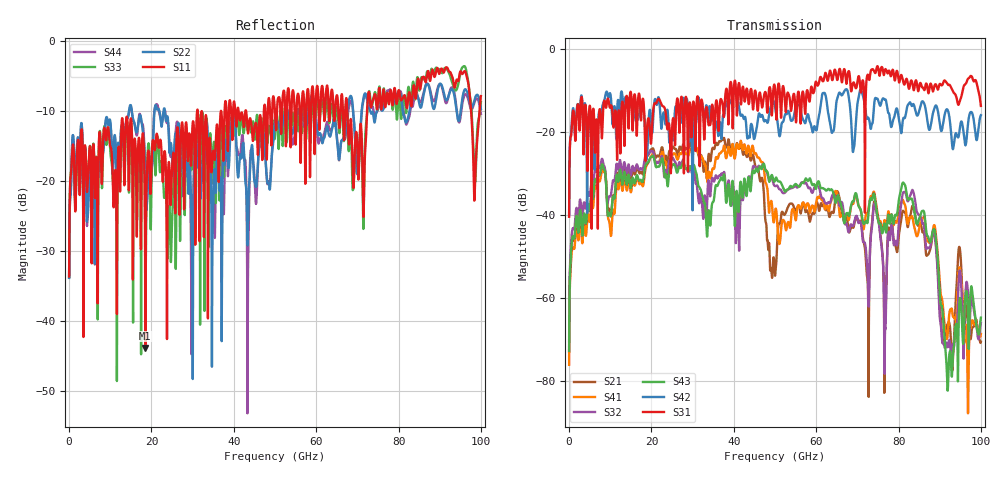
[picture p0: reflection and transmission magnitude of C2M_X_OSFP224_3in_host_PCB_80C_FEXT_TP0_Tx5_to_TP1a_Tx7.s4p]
# GHz S RI R 45
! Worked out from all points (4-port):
!   4000 points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, 25 MHz to 100 GHz, reference 45 ohm
!   strongest paths, dB at 25 MHz, 25.02 GHz, 50.02 GHz, 75.03 GHz, 100 GHz:
!     S31: -40.4, -19.1, -9.6, -4.4, -13.7
!     S42: -40.1, -20.8, -13.9, -12.3, -15.9
!     S43: -72.7, -28.2, -31.6, -41.1, -64.7
!     S32: -70.4, -26.3, -33.0, -41.0, -65.9
!     S41: -76.0, -25.8, -39.2, -40.6, -68.6
!     S21: -72.9, -23.8, -54.6, -40.6, -70.5
!   lowest |S11| = -43.9 dB at 18.52 GHz (marker M1), VSWR 1.01, Z = 45.3 + j0.478 ohm
!   |S11| at or under -10 dB: start of sweep to 31.1 GHz; 32.23 GHz to 36.87 GHz (4.638 GHz wide, 13.4 % of centre); 67.56 GHz to 72.36 GHz (4.794 GHz wide, 6.85 % of centre) (the widest 3 of 28)
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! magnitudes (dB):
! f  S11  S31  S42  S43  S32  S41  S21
! 25 MHz  -33.7  -40.4  -40.1  -72.7  -70.4  -76.0  -72.9
! 18.52 GHz  -43.9  -25.3  -21.5  -28.2  -25.8  -29.0  -26.8
! 74.33 GHz  -7.6  -5.8  -11.9  -36.2  -37.5  -35.7  -37.0
! 76.7 GHz  -9.2  -5.1  -12.2  -42.3  -68.9  -41.4  -60.9
! 81.28 GHz  -7.9  -8.4  -16.5  -32.3  -34.4  -36.9  -39.2
! 91.88 GHz  -3.8  -8.4  -14.6  -81.4  -71.7  -69.3  -66.3
! 100 GHz  -7.8  -13.7  -15.9  -64.7  -65.9  -68.6  -70.5
